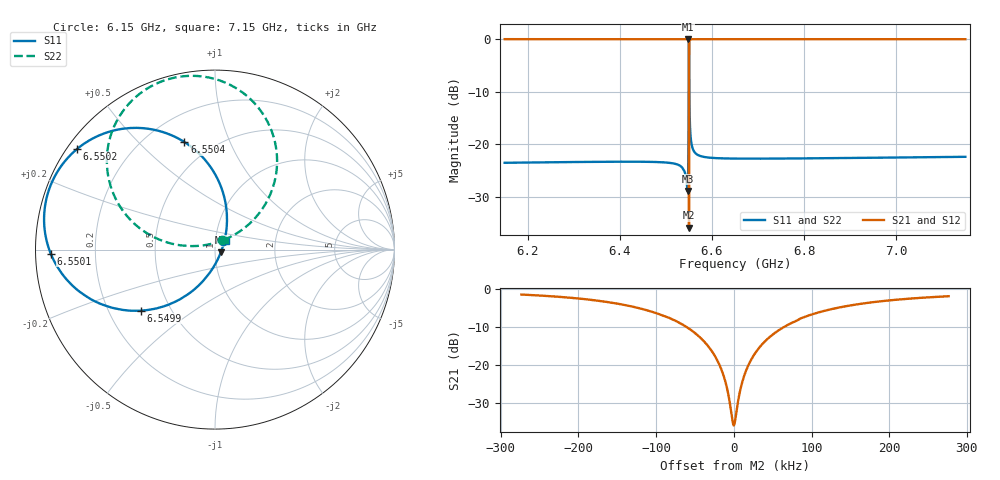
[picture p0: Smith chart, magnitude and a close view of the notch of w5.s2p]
! Sonnet Data File
! From: em Version : 14.52
! From Project: w5
! Data is De-embedded
! Data File Written: 07/15/2018 12:04:03
!< HDATE 07/13/2018 23:59:15
!< MDATE 07/15/2018 10:11:32
# GHZ S MA R 50.00000
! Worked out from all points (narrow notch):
!   1041 points, 6.15 GHz to 7.15 GHz, reference 50 ohm
!   highest |S21| = -0.01 dB at 6.547 GHz (marker M1); lowest = -35.9 dB at 6.5502 GHz (marker M2)
!   notch at M2: 35.4 dB deep, 46.2 kHz wide at half that depth
!   lowest |S11| = -28.9 dB at 6.5472 GHz (marker M3), VSWR 1.07, Z = 53.4 - j1.49 ohm
!   |S11| at or under -10 dB: start of sweep to 6.5497 GHz; 6.5508 GHz to end of sweep
!   |S22| runs from -28.9 to -0.1 dB; largest |S21 - S12| = 0
!   S11 on the Smith chart (normalised r, x): 6.15 GHz: 1.09, +0.10; 6.5499 GHz: 0.34, -0.32; 6.5501 GHz: 0.04, -0.01; 6.5502 GHz: 0.03, +0.32; 6.5504 GHz: 0.35, +0.69; 7.15 GHz: 1.12, +0.10
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6.15  0.06635 44.9  0.9978 -41.9  0.9978 -41.9  0.06635 51.4
!< P1 F=6.15 Eeff=(5.67116779 -5.1686e-6) Z0=(58.6481272 2.67284e-5) R=0.00781181 C=0.00303615
!< P2 F=6.15 Eeff=(5.67104335 -5.1685e-6) Z0=(55.9094277 2.54829e-5) R=0.00799627 C=0.00296515
6.32  0.06759 43.5  0.9977 -43.0  0.9977 -43.0  0.06759 50.5
6.485  0.06734 41.3  0.9977 -44.3  0.9977 -44.3  0.06734 50.2
6.54  0.0555 31.7  0.9985 -45.5  0.9985 -45.5  0.05551 57.3
6.547  0.03583 -16.5  0.9993 -47.9  0.9993 -47.9  0.03594 100.8
6.5472  0.03576 -23.0  0.9993 -48.1  0.9993 -48.1  0.03589 106.8
6.5494  0.1816 -110.1  0.9824 -58.3  0.9824 -58.3  0.1819 172.9
6.549895  0.5346 -140.5  0.8382 -80.3  0.8382 -80.3  0.5354 158.5
6.550088  0.9153 -178.6  0.364 -114.2  0.364 -114.2  0.9165 125.2
6.550135  0.9757 166.6  0.1242 -123.5  0.1242 -123.5  0.9768 111.5
6.550159  0.9834 159.2  0.016 -46.0  0.016 -46.0  0.9846 104.7
6.550177  0.979 153.5  0.09832 27.2  0.09832 27.2  0.9801 99.3
6.550209  0.9517 144.0  0.2542 23.9  0.2542 23.9  0.9528 90.5
6.55028  0.8335 125.8  0.5325 8.4  0.5325 8.4  0.8344 73.8
6.550405  0.6234 105.9  0.7747 -9.5  0.7747 -9.5  0.624 56.4
6.5512  0.2329 74.1  0.972 -34.7  0.972 -34.7  0.233 36.7
6.5528  0.1338 61.3  0.9909 -40.6  0.9909 -40.6  0.1338 37.5
6.5596  0.08752 49.7  0.9962 -43.5  0.9962 -43.5  0.08752 43.3
6.65  0.07274 42.3  0.9974 -45.1  0.9974 -45.1  0.07274 47.5
6.82  0.07319 40.5  0.9973 -46.4  0.9973 -46.4  0.07319 46.8
6.985  0.07436 39.2  0.9972 -47.5  0.9972 -47.5  0.07436 45.8
7.15  0.07564 38.0  0.9971 -48.6  0.9971 -48.6  0.07564 44.8
